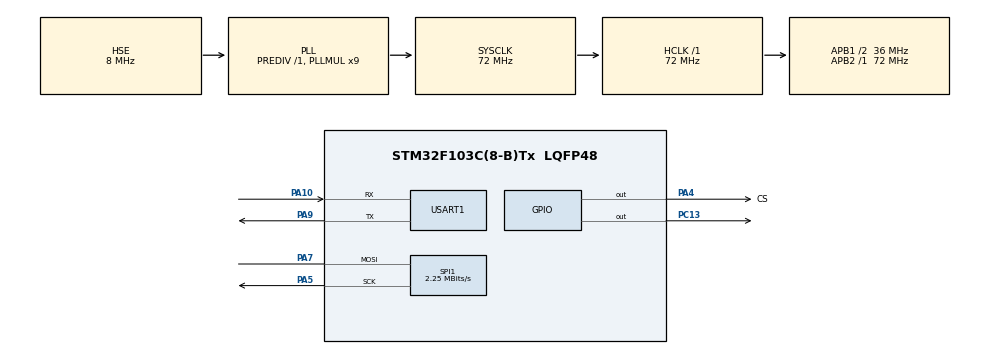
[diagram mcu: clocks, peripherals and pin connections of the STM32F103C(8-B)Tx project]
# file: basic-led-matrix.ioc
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Mcu.Family=STM32F1
Mcu.Name=STM32F103C(8-B)Tx
Mcu.Package=LQFP48
NVIC.PriorityGroup=NVIC_PRIORITYGROUP_4
PA10.Mode=Asynchronous
PA10.Signal=USART1_RX
PA13.Mode=Serial_Wire
PA13.Signal=SYS_JTMS-SWDIO
PA14.Mode=Serial_Wire
PA14.Signal=SYS_JTCK-SWCLK
PA4.GPIO_Label=CS
PA4.Signal=GPIO_Output
PA5.Mode=Simplex_Bidirectional_Master
PA5.Signal=SPI1_SCK
PA7.Mode=Simplex_Bidirectional_Master
PA7.Signal=SPI1_MOSI
PA9.Mode=Asynchronous
PA9.Signal=USART1_TX
PC13-TAMPER-RTC.Signal=GPIO_Output
PD0-OSC_IN.Mode=HSE-External-Oscillator
PD0-OSC_IN.Signal=RCC_OSC_IN
PD1-OSC_OUT.Mode=HSE-External-Oscillator
PD1-OSC_OUT.Signal=RCC_OSC_OUT
ProjectManager.HeapSize=0x200
ProjectManager.StackSize=0x400
ProjectManager.TargetToolchain=STM32CubeIDE
RCC.AHBFreq_Value=72000000
RCC.APB1CLKDivider=RCC_HCLK_DIV2
RCC.APB1Freq_Value=36000000
RCC.APB1TimFreq_Value=72000000
RCC.APB2Freq_Value=72000000
RCC.APB2TimFreq_Value=72000000
RCC.HCLKFreq_Value=72000000
RCC.PLLMUL=RCC_PLL_MUL9
RCC.PLLSourceVirtual=RCC_PLLSOURCE_HSE
RCC.SYSCLKFreq_VALUE=72000000
RCC.SYSCLKSource=RCC_SYSCLKSOURCE_PLLCLK
RCC.USBFreq_Value=72000000
SPI1.BaudRatePrescaler=SPI_BAUDRATEPRESCALER_32
SPI1.CLKPolarity=SPI_POLARITY_HIGH
SPI1.CalculateBaudRate=2.25 MBits/s
SPI1.DataSize=SPI_DATASIZE_16BIT
SPI1.Direction=SPI_DIRECTION_1LINE
SPI1.Mode=SPI_MODE_MASTER
SPI1.VirtualType=VM_MASTER
USART1.VirtualMode=VM_ASYNC
board=custom

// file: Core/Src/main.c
/* USER CODE BEGIN Header */
/**
  ******************************************************************************
  * @file           : main.c
  * @brief          : Main program body
  ******************************************************************************
  * @attention
  *
  * Copyright (c) 2025 STMicroelectronics.
  * All rights reserved.
  *
  * This software is licensed under terms that can be found in the LICENSE file
  * in the root directory of this software component.
  * If no LICENSE file comes with this software, it is provided AS-IS.
  *
  ******************************************************************************
  */
/* USER CODE END Header */
#include "main.h"

/* USER CODE BEGIN Includes */
#include <stdio.h>

/* USER CODE END Includes */

SPI_HandleTypeDef hspi1;

UART_HandleTypeDef huart1;

/* USER CODE BEGIN PV */
uint32_t counter = 0;  // global counter
/* USER CODE END PV */

void SystemClock_Config(void);
static void MX_GPIO_Init(void);
static void MX_USART1_UART_Init(void);
static void MX_SPI1_Init(void);
/* USER CODE BEGIN PFP */

int _write(int file, char *ptr, int len)
{
    HAL_UART_Transmit(&huart1, (uint8_t*)ptr, len, HAL_MAX_DELAY);
    return len;
}

/* USER CODE END PFP */

/* USER CODE BEGIN 0 */

const uint8_t charData[][8] = {
		{0x00, 0x1c, 0x22, 0x22, 0x22, 0x22, 0x1c, 0x00},  // 0
		{0x08, 0x0c, 0x08, 0x08, 0x08, 0x08, 0x3e, 0x00},  // 1
		{0x1c, 0x22, 0x20, 0x18, 0x04, 0x02, 0x3e, 0x00},  // 2
		{0x1c, 0x22, 0x20, 0x1c, 0x20, 0x22, 0x1c, 0x00},  // 3
		{0x20, 0x30, 0x28, 0x24, 0x7c, 0x20, 0x20, 0x00},  // 4
		{0x3e, 0x02, 0x1e, 0x20, 0x20, 0x20, 0x1e, 0x00},  // 5
		{0x18, 0x04, 0x02, 0x1e, 0x22, 0x22, 0x1c, 0x00},  // 6
		{0x3e, 0x20, 0x10, 0x08, 0x04, 0x04, 0x04, 0x00},  // 7
		{0x1c, 0x22, 0x22, 0x1c, 0x22, 0x22, 0x1c, 0x00},  // 8
		{0x1c, 0x22, 0x22, 0x3c, 0x20, 0x10, 0x0c, 0x00},  // 9
};

void max7219_write (uint8_t Addr, uint8_t data)
{
	uint16_t writeData = (Addr<<8)|data;
	HAL_GPIO_WritePin(CS_GPIO_Port, CS_Pin, 0);  // enable slave
	HAL_SPI_Transmit(&hspi1, (uint8_t *)&writeData, 1, 100);
	HAL_GPIO_WritePin(CS_GPIO_Port, CS_Pin, 1);  // disable slave
}

void matrixInit (void)
{
	max7219_write(0x09, 0);  // no decoding
	max7219_write(0x0a, 0x01);  // 3/32 intensity
	max7219_write(0x0B, 0x07);  // scan all 7 columns
	max7219_write(0x0C, 0x01);  // normal operation
	max7219_write(0x0F, 0);     // No display test
}

void matrixData(int num)
{
	for (int i=1; i<=8; i++)
	{
		max7219_write(i, charData[num][8-i]);
	}
}

/* USER CODE END 0 */

int main(void)
{

  /* MCU Configuration--------------------------------------------------------*/

  /* Reset of all peripherals, Initializes the Flash interface and the Systick. */
  HAL_Init();

  /* Configure the system clock */
  SystemClock_Config();

  /* Initialize all configured peripherals */
  MX_GPIO_Init();
  MX_USART1_UART_Init();
  MX_SPI1_Init();
  /* USER CODE BEGIN 2 */

  matrixInit();

  /* USER CODE END 2 */

  /* Infinite loop */
  while (1)
  {

    /* USER CODE BEGIN 3 */

	// Toggle LED on PC13
	HAL_GPIO_TogglePin(GPIOC, GPIO_PIN_13);

	// Print counter
	printf("Counter: %lu, LED toggled!\r\n", counter);

	// Increment counter
	counter++;
	printf("Setting matrix LEDs");

	  for (int i=0; i<10; i++)
	  {
		  matrixData(i);
		  HAL_Delay(500);
	  }

	// Wait 1 second
	HAL_Delay(1000);

  }
  /* USER CODE END 3 */
}

void SystemClock_Config(void)
{
  RCC_OscInitTypeDef RCC_OscInitStruct = {0};
  RCC_ClkInitTypeDef RCC_ClkInitStruct = {0};

  /** Initializes the RCC Oscillators according to the specified parameters
  * in the RCC_OscInitTypeDef structure.
  */
  RCC_OscInitStruct.OscillatorType = RCC_OSCILLATORTYPE_HSE;
  RCC_OscInitStruct.HSEState = RCC_HSE_ON;
  RCC_OscInitStruct.HSEPredivValue = RCC_HSE_PREDIV_DIV1;
  RCC_OscInitStruct.HSIState = RCC_HSI_ON;
  RCC_OscInitStruct.PLL.PLLState = RCC_PLL_ON;
  RCC_OscInitStruct.PLL.PLLSource = RCC_PLLSOURCE_HSE;
  RCC_OscInitStruct.PLL.PLLMUL = RCC_PLL_MUL9;
  if (HAL_RCC_OscConfig(&RCC_OscInitStruct) != HAL_OK)
  {
    Error_Handler();
  }

  /** Initializes the CPU, AHB and APB buses clocks
  */
  RCC_ClkInitStruct.ClockType = RCC_CLOCKTYPE_HCLK|RCC_CLOCKTYPE_SYSCLK
                              |RCC_CLOCKTYPE_PCLK1|RCC_CLOCKTYPE_PCLK2;
  RCC_ClkInitStruct.SYSCLKSource = RCC_SYSCLKSOURCE_PLLCLK;
  RCC_ClkInitStruct.AHBCLKDivider = RCC_SYSCLK_DIV1;
  RCC_ClkInitStruct.APB1CLKDivider = RCC_HCLK_DIV2;
  RCC_ClkInitStruct.APB2CLKDivider = RCC_HCLK_DIV1;

  if (HAL_RCC_ClockConfig(&RCC_ClkInitStruct, FLASH_LATENCY_2) != HAL_OK)
  {
    Error_Handler();
  }
}

static void MX_SPI1_Init(void)
{

  /* SPI1 parameter configuration*/
  hspi1.Instance = SPI1;
  hspi1.Init.Mode = SPI_MODE_MASTER;
  hspi1.Init.Direction = SPI_DIRECTION_1LINE;
  hspi1.Init.DataSize = SPI_DATASIZE_16BIT;
  hspi1.Init.CLKPolarity = SPI_POLARITY_HIGH;
  hspi1.Init.CLKPhase = SPI_PHASE_1EDGE;
  hspi1.Init.NSS = SPI_NSS_SOFT;
  hspi1.Init.BaudRatePrescaler = SPI_BAUDRATEPRESCALER_32;
  hspi1.Init.FirstBit = SPI_FIRSTBIT_MSB;
  hspi1.Init.TIMode = SPI_TIMODE_DISABLE;
  hspi1.Init.CRCCalculation = SPI_CRCCALCULATION_DISABLE;
  hspi1.Init.CRCPolynomial = 10;
  if (HAL_SPI_Init(&hspi1) != HAL_OK)
  {
    Error_Handler();
  }

}

static void MX_USART1_UART_Init(void)
{

  huart1.Instance = USART1;
  huart1.Init.BaudRate = 115200;
  huart1.Init.WordLength = UART_WORDLENGTH_8B;
  huart1.Init.StopBits = UART_STOPBITS_1;
  huart1.Init.Parity = UART_PARITY_NONE;
  huart1.Init.Mode = UART_MODE_TX_RX;
  huart1.Init.HwFlowCtl = UART_HWCONTROL_NONE;
  huart1.Init.OverSampling = UART_OVERSAMPLING_16;
  if (HAL_UART_Init(&huart1) != HAL_OK)
  {
    Error_Handler();
  }

}

static void MX_GPIO_Init(void)
{
  GPIO_InitTypeDef GPIO_InitStruct = {0};

  /* GPIO Ports Clock Enable */
  __HAL_RCC_GPIOC_CLK_ENABLE();
  __HAL_RCC_GPIOD_CLK_ENABLE();
  __HAL_RCC_GPIOA_CLK_ENABLE();

  /*Configure GPIO pin Output Level */
  HAL_GPIO_WritePin(GPIOC, GPIO_PIN_13, GPIO_PIN_RESET);

  /*Configure GPIO pin Output Level */
  HAL_GPIO_WritePin(CS_GPIO_Port, CS_Pin, GPIO_PIN_RESET);

  /*Configure GPIO pin : PC13 */
  GPIO_InitStruct.Pin = GPIO_PIN_13;
  GPIO_InitStruct.Mode = GPIO_MODE_OUTPUT_PP;
  GPIO_InitStruct.Pull = GPIO_NOPULL;
  GPIO_InitStruct.Speed = GPIO_SPEED_FREQ_LOW;
  HAL_GPIO_Init(GPIOC, &GPIO_InitStruct);

  /*Configure GPIO pin : CS_Pin */
  GPIO_InitStruct.Pin = CS_Pin;
  GPIO_InitStruct.Mode = GPIO_MODE_OUTPUT_PP;
  GPIO_InitStruct.Pull = GPIO_NOPULL;
  GPIO_InitStruct.Speed = GPIO_SPEED_FREQ_LOW;
  HAL_GPIO_Init(CS_GPIO_Port, &GPIO_InitStruct);

}

void Error_Handler(void)
{
  __disable_irq();
  while (1)
  {
  }
}
